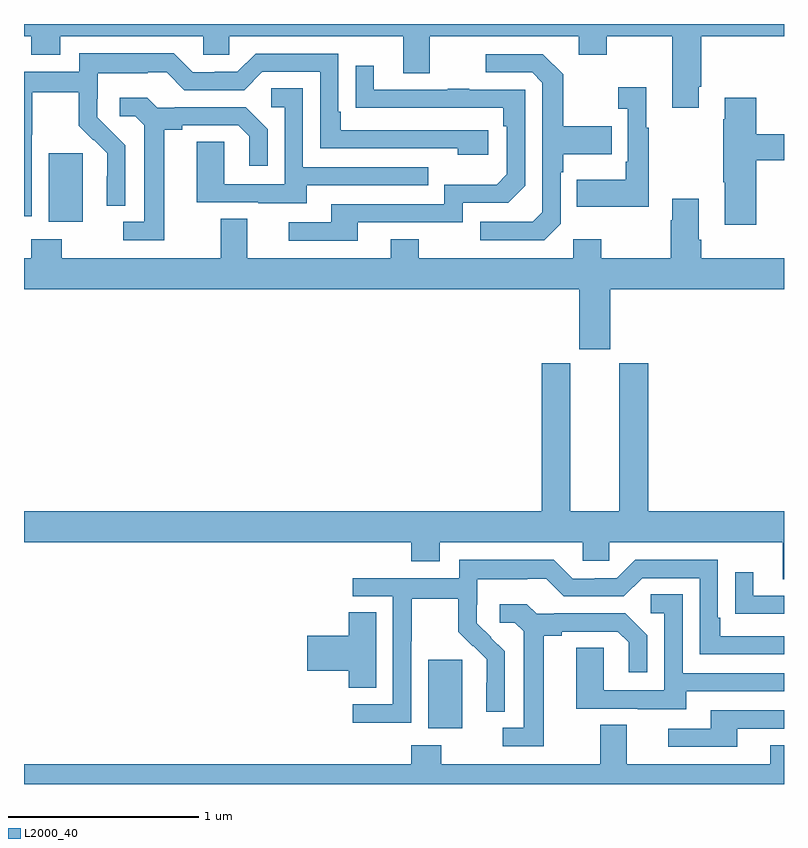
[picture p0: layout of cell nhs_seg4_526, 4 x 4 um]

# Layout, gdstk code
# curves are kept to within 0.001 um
import gdstk
lib = gdstk.Library(unit=1e-6, precision=1e-09)
def R(c, l, rs):  # rectangles x0, y0, x1, y1
    for r in rs: c.add(gdstk.rectangle(r[:2], r[2:], *l))
def P(c, l, *ps):  # polygons
    for p in ps: c.add(gdstk.Polygon(p, *l))
L2000_40 = (2000, 40)

nhs_seg4_526 = lib.new_cell('nhs_seg4_526')
R(nhs_seg4_526, L2000_40, [(139.127,777.194,139.306,777.555), (137.129,779.858,137.308,780.219)])
P(nhs_seg4_526, L2000_40, [(140.551,780.571),(140.564,780.571),(140.564,780.836),(141,780.836),(141,780.9),(137,780.9),(137,780.836),(137.039,780.836),(137.039,780.737),(137.191,780.737),(137.191,780.836),(137.943,780.836),(137.943,780.738),(138.081,780.738),(138.081,780.836),(138.995,780.836),(138.995,780.642),(139.135,780.642),(139.135,780.836),(139.919,780.836),(139.919,780.737),(140.067,780.737),(140.067,780.836),(140.411,780.836),(140.411,780.459),(140.551,780.459)],
  [(137.04,780.316),(137.043,780.316),(137.043,780.54),(137.287,780.54),(137.287,780.365),(137.364,780.288),(137.367,780.291),(137.438,780.221),(137.438,780.098),(137.436,780.098),(137.436,779.944),(137.532,779.944),(137.532,780.262),(137.386,780.41),(137.386,780.507),(137.388,780.507),(137.388,780.641),(137.651,780.641),(137.651,780.645),(137.751,780.645),(137.844,780.552),(138.159,780.552),(138.255,780.648),(138.558,780.648),(138.558,780.246),(139.283,780.246),(139.283,780.212),(139.444,780.212),(139.444,780.342),(138.667,780.342),(138.667,780.439),(138.654,780.439),(138.654,780.744),(138.219,780.744),(138.123,780.648),(138.005,780.648),(138.005,780.645),(137.889,780.645),(137.789,780.745),(137.292,780.745),(137.292,780.648),(137,780.648),(137,779.887),(137.04,779.887)],
  [(139.824,779.85),(139.824,780.119),(139.837,780.119),(139.837,780.215),(140.093,780.215),(140.093,780.363),(139.837,780.363),(139.837,780.635),(139.731,780.741),(139.431,780.741),(139.431,780.645),(139.674,780.645),(139.728,780.591),(139.728,779.91),(139.677,779.859),(139.401,779.859),(139.401,779.763),(139.737,779.763)],
  [(138.757,779.856),(139.308,779.856),(139.308,779.958),(139.548,779.958),(139.638,780.048),(139.638,780.555),(139.343,780.555),(139.343,780.56),(139.231,780.56),(139.231,780.555),(138.841,780.555),(138.841,780.679),(138.745,780.679),(138.745,780.46),(139.522,780.459),(139.522,780.362),(139.542,780.362),(139.542,780.108),(139.489,780.055),(139.212,780.055),(139.212,779.952),(138.617,779.952),(138.617,779.856),(138.393,779.856),(138.393,779.76),(138.757,779.76)],
  [(140.287,780.355),(140.275,780.355),(140.275,780.568),(140.127,780.568),(140.127,780.455),(140.178,780.455),(140.178,780.175),(140.166,780.175),(140.166,780.079),(139.909,780.079),(139.909,779.939),(140.287,779.939)],
  [(138.487,780.051),(139.127,780.051),(139.127,780.147),(138.468,780.147),(138.468,780.563),(138.3,780.563),(138.3,780.462),(138.372,780.462),(138.372,780.057),(138.054,780.057),(138.054,780.281),(137.909,780.281),(137.909,779.961),(138.233,779.961),(138.233,779.957),(138.487,779.957)],
  [(140.855,780.184),(141,780.184),(141,780.32),(140.855,780.32),(140.855,780.511),(140.687,780.511),(140.687,780.398),(140.68,780.398),(140.68,780.067),(140.687,780.067),(140.687,779.844),(140.855,779.844)],
  [(137.737,780.344),(137.833,780.344),(137.833,780.366),(138.128,780.366),(138.185,780.309),(138.185,780.153),(138.282,780.153),(138.282,780.346),(138.166,780.462),(137.794,780.462),(137.794,780.459),(137.7,780.459),(137.648,780.511),(137.505,780.511),(137.505,780.414),(137.586,780.414),(137.633,780.367),(137.633,779.859),(137.523,779.859),(137.523,779.763),(137.737,779.763)],
  [(140.086,779.504),(141,779.504),(141,779.668),(140.564,779.668),(140.564,779.764),(140.551,779.764),(140.551,779.98),(140.411,779.98),(140.411,779.867),(140.404,779.867),(140.404,779.668),(140.037,779.668),(140.037,779.767),(139.89,779.767),(139.89,779.668),(139.077,779.668),(139.077,779.767),(138.929,779.767),(138.929,779.668),(138.175,779.668),(138.175,779.876),(138.035,779.876),(138.035,779.668),(137.199,779.668),(137.199,779.767),(137.039,779.767),(137.039,779.668),(137,779.668),(137,779.504),(139.922,779.504),(139.922,779.187),(140.086,779.187)],
  [(141,778.336),(140.285,778.336),(140.285,779.115),(140.132,779.115),(140.132,778.336),(139.876,778.336),(139.876,779.115),(139.724,779.115),(139.724,778.336),(137,778.336),(137,778.172),(139.037,778.172),(139.037,778.073),(139.189,778.073),(139.189,778.172),(139.941,778.172),(139.941,778.074),(140.079,778.074),(140.079,778.172),(140.993,778.172),(140.993,777.978),(141,777.978)],
  [(139.038,777.652),(139.041,777.652),(139.041,777.876),(139.285,777.876),(139.285,777.701),(139.362,777.624),(139.365,777.627),(139.436,777.557),(139.436,777.434),(139.434,777.434),(139.434,777.28),(139.53,777.28),(139.53,777.598),(139.384,777.746),(139.384,777.843),(139.386,777.843),(139.386,777.977),(139.649,777.977),(139.649,777.981),(139.749,777.981),(139.842,777.888),(140.157,777.888),(140.253,777.984),(140.556,777.984),(140.556,777.582),(141,777.582),(141,777.678),(140.665,777.678),(140.665,777.775),(140.652,777.775),(140.652,778.08),(140.217,778.08),(140.121,777.984),(140.003,777.984),(140.003,777.981),(139.887,777.981),(139.787,778.081),(139.29,778.081),(139.29,777.984),(138.729,777.984),(138.729,777.888),(138.942,777.888),(138.942,777.321),(138.729,777.321),(138.729,777.223),(139.038,777.223)],
  [(141,777.891),(140.839,777.891),(140.839,778.015),(140.743,778.015),(140.743,777.796),(140.845,777.796),(140.845,777.795),(141,777.795)],
  [(140.485,777.387),(141,777.387),(141,777.483),(140.466,777.483),(140.466,777.899),(140.298,777.899),(140.298,777.798),(140.37,777.798),(140.37,777.393),(140.052,777.393),(140.052,777.617),(139.907,777.617),(139.907,777.297),(140.231,777.297),(140.231,777.293),(140.485,777.293)],
  [(139.735,777.68),(139.831,777.68),(139.831,777.702),(140.126,777.702),(140.183,777.645),(140.183,777.489),(140.28,777.489),(140.28,777.682),(140.164,777.798),(139.792,777.798),(139.792,777.795),(139.698,777.795),(139.646,777.847),(139.503,777.847),(139.503,777.75),(139.584,777.75),(139.631,777.703),(139.631,777.195),(139.521,777.195),(139.521,777.099),(139.735,777.099)],
  [(138.853,777.803),(138.71,777.803),(138.71,777.68),(138.492,777.68),(138.492,777.497),(138.71,777.497),(138.71,777.406),(138.853,777.406)],
  [(140.755,777.192),(141,777.192),(141,777.288),(140.615,777.288),(140.615,777.192),(140.391,777.192),(140.391,777.096),(140.755,777.096)],
  [(141,777.103),(140.927,777.103),(140.927,777.004),(140.173,777.004),(140.173,777.212),(140.033,777.212),(140.033,777.004),(139.197,777.004),(139.197,777.103),(139.037,777.103),(139.037,777.004),(137,777.004),(137,776.9),(141,776.9)])

lib.write_gds('nhs_seg4_526.gds')
